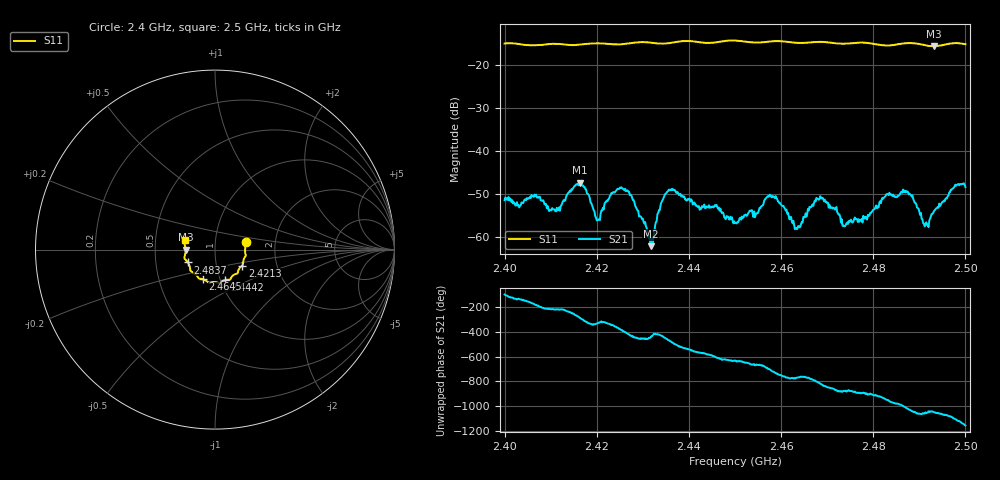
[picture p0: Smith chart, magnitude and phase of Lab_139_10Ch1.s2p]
# Hz S RI R 50
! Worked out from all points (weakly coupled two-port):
!   601 points, 2.4 GHz to 2.5 GHz, reference 50 ohm
!   highest |S21| = -47.39 dB at 2.4163 GHz (marker M1); lowest = -62.1 dB at 2.4317 GHz (marker M2)
!   lowest |S11| = -15.7 dB at 2.4932 GHz (marker M3), VSWR 1.39, Z = 35.9 - j0.0524 ohm
!   |S11| at or under -10 dB: start of sweep to end of sweep
!   S12 and S22 are empty: the file has one direction only
!   S11 on the Smith chart (normalised r, x): 2.4 GHz: 1.41, +0.12; 2.4213 GHz: 1.33, -0.25; 2.4442 GHz: 1.05, -0.37; 2.4645 GHz: 0.83, -0.29; 2.4837 GHz: 0.73, -0.11; 2.5 GHz: 0.71, +0.07
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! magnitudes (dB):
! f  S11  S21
! 2.4 GHz  -15.1  -51.4
! 2.4115 GHz  -15.2  -53.8
! 2.4163 GHz  -15.3  -47.4
! 2.4167 GHz  -15.3  -47.8
! 2.4202 GHz  -15.1  -56.1
! 2.4213 GHz  -15.1  -53.2
! 2.4265 GHz  -15.1  -49.3
! 2.4317 GHz  -14.9  -62.1
! 2.4333 GHz  -15.1  -54.4
! 2.4362 GHz  -14.9  -49.1
! 2.4442 GHz  -15.0  -53.1
! 2.45 GHz  -14.4  -56.7
! 2.4577 GHz  -14.6  -50.2
! 2.4645 GHz  -15.0  -56.5
! 2.4667 GHz  -14.8  -52.8
! 2.4738 GHz  -15.1  -57.5
! 2.4833 GHz  -15.6  -50.2
! 2.4837 GHz  -15.5  -50.2
! 2.488 GHz  -15.0  -50.1
! 2.4915 GHz  -15.5  -56.6
! 2.4932 GHz  -15.7  -54.0
! 2.5 GHz  -15.3  -48.4
